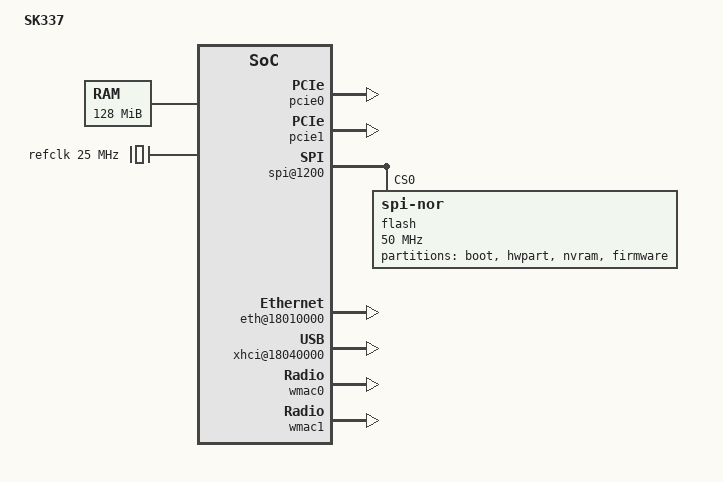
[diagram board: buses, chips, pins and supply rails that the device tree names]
// SPDX-License-Identifier: GPL-2.0-or-later OR MIT
#include "rtl8198c.dtsi"

/ {
	#address-cells = <1>;
	#size-cells = <1>;
	compatible = "realtek,rtl8198c-soc";
	model = "SK337";

	memory@0 {
		device_type = "memory";
		reg = <0x0 0x08000000>;
	};

	chosen { bootargs = "console=ttyS0,115200"; };

	refclk: refclk {
		#clock-cells = <0>;
		clock-frequency = <25000000>;
		compatible = "fixed-clock";
	};

	pcie0: pcie@18b00000 {
		#address-cells = <3>;
		#size-cells = <2>;
		bus-range = <0 255>;
		compatible = "realtek,rtl819x-pci";
		device_type = "pci";
		interrupt-parent = <&gic>;
		interrupts = <GIC_SHARED 31 IRQ_TYPE_LEVEL_HIGH>;
		ranges = <0x02000000 0 0 0x19000000 0 0x01000000
			  0x01000000 0 0 0x18c00000 0 0x00200000>;
		reg = <0x18b00000 0x1000 0x18b01000 0x1000
			0x18b10000 0x1000 0x18b11000 0x1000>;
		reg-names = "rc_cfg", "rc_ext", "dev_cfg0", "dev_cfg1";
		slot-num = <0>;
	};

	pcie1: pcie@18b20000 {
		#address-cells = <3>;
		#size-cells = <2>;
		bus-range = <0 255>;
		compatible = "realtek,rtl819x-pci";
		device_type = "pci";
		interrupt-parent = <&gic>;
		interrupts = <GIC_SHARED 32 IRQ_TYPE_LEVEL_HIGH>;
		ranges = <0x02000000 0 0 0x1a000000 0 0x01000000
			  0x01000000 0 0 0x18e00000 0 0x00200000>;
		reg = <0x18b20000 0x1000 0x18b21000 0x1000
			0x18b30000 0x1000 0x18b31000 0x1000>;
		reg-names = "rc_cfg", "rc_ext", "dev_cfg0", "dev_cfg1";
		slot-num = <1>;
	};

	soc {
		gpio0: gpio@3500 {
			#gpio-cells = <2>;
			#interrupt-cells = <2>;
			compatible = "realtek,rtl819x-gpio";
			gpio-controller;
			interrupt-parent = <&gic>;
			interrupts = <GIC_SHARED 26 IRQ_TYPE_LEVEL_HIGH>,
					 <GIC_SHARED 27 IRQ_TYPE_LEVEL_HIGH>;
			reg = <0x3500 0x100>;
		};

		memory-controller@1000 {
			compatible = "realtek,rtl819x-memc";
			reg = <0x1000 0x100>;
		};

		spi@1200 {
			#address-cells = <1>;
			#size-cells = <0>;
			compatible = "realtek,rtl819x-nor";
			interrupt-parent = <&gic>;
			interrupts = <GIC_SHARED 41 IRQ_TYPE_LEVEL_HIGH>;
			num-cs = <2>;
			reg = <0x1200 0x100>;
			status = "okay";
			flash@0 {
				compatible = "jedec,spi-nor";
				reg = <0>;
				spi-max-frequency = <50000000>;
				partitions {
					compatible = "fixed-partitions";
					#address-cells = <1>;
					#size-cells = <1>;
					partition@0 { label = "boot"; reg = <0x0 0x40000>; };
					partition@20000 { label = "hwpart"; reg = <0x20000 0x20000>; };
					partition@40000 { label = "nvram"; reg = <0x40000 0x20000>; };
					partition@800000 { label = "firmware"; reg = <0x800000 0x01fe0000>; };
				};
			};
		};

		eth@18010000 {
			compatible = "realtek,rtl819x-eth";
			interrupt-parent = <&gic>;
			interrupts = <GIC_SHARED 25 IRQ_TYPE_LEVEL_HIGH>;
			reg = <0x18010000 0x100>;
			status = "okay";
		};

		watchdog@3100 {
			compatible = "realtek,rtl819x-wdt";
			reg = <0x3100 0x20>;
		};

		xhci@18040000 {
			compatible = "realtek,rtl819x-xhci";
			interrupt-parent = <&gic>;
			interrupts = <GIC_SHARED 34 IRQ_TYPE_LEVEL_HIGH>;
			reg = <0x18040000 0x10000>;
			status = "okay";
		};
	};

	wmac {
		#address-cells = <1>;
		#size-cells = <1>;
		compatible = "realtek,rtl819x-wmac";
		ranges = <0 0 0x20000000>;

		wmac0 {
			compatible = "realtek,rtl819x-wmac";
			init-mode = <1>;
			interrupt-parent = <&gic>;
			interrupts = <GIC_SHARED 32 IRQ_TYPE_LEVEL_HIGH>;
			reg = <0x18b30000 0x1000 0x1a000000 0x1000>;
			ext-lna;
			ext-pa;
			status = "okay";
		};

		wmac1 {
			compatible = "realtek,rtl819x-wmac";
			init-mode = <1>;
			interrupt-parent = <&gic>;
			interrupts = <GIC_SHARED 31 IRQ_TYPE_LEVEL_HIGH>;
			reg = <0x18b10000 0x1000 0x19000000 0x1000>;
			ext-pa;
			status = "okay";
		};
	};
};
